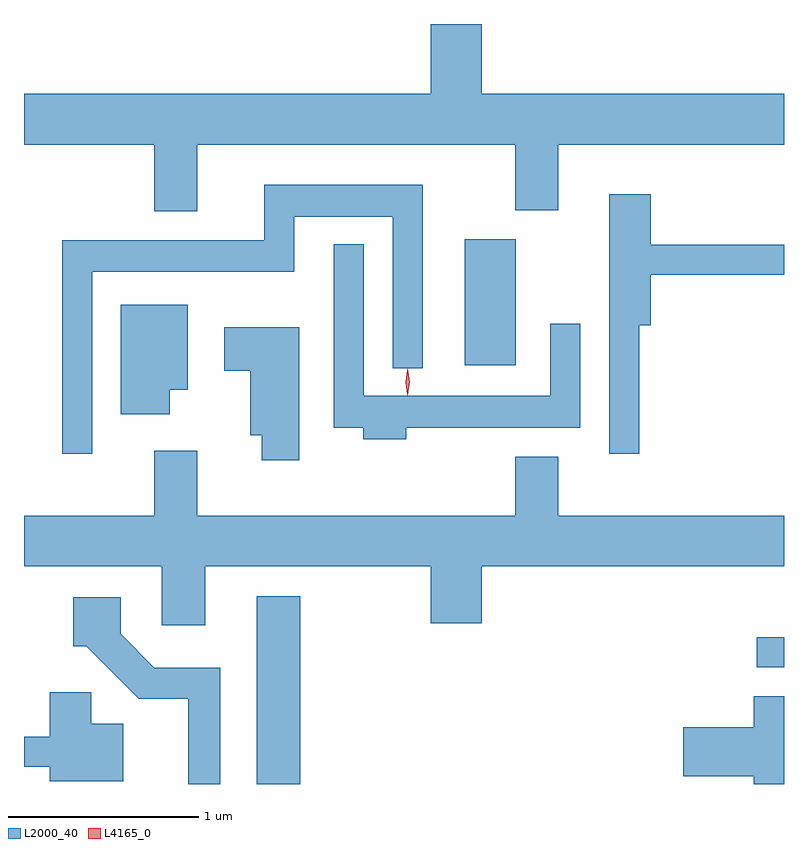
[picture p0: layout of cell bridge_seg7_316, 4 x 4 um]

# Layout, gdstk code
import gdstk
lib = gdstk.Library(unit=1e-6, precision=1e-09)
def R(c, l, rs):  # rectangles x0, y0, x1, y1
    for r in rs: c.add(gdstk.rectangle(r[:2], r[2:], *l))
def P(c, l, *ps):  # polygons
    for p in ps: c.add(gdstk.Polygon(p, *l))
L2000_40 = (2000, 40)
L4165_0 = (4165, 0)

bridge_seg7_316 = lib.new_cell('bridge_seg7_316')
R(bridge_seg7_316, L2000_40, [(1193.181,1764.231,1193.409,1765.219), (1195.813,1764.846,1195.956,1765.004), (1194.276,1766.436,1194.544,1767.099)])
P(bridge_seg7_316, L2000_40, [(1192.869,1767.596),(1194.541,1767.596),(1194.541,1767.251),(1194.769,1767.251),(1194.769,1767.596),(1195.956,1767.596),(1195.956,1767.864),(1194.364,1767.864),(1194.364,1768.231),(1194.096,1768.231),(1194.096,1767.864),(1191.956,1767.864),(1191.956,1767.596),(1192.641,1767.596),(1192.641,1767.246),(1192.869,1767.246)],
  [(1192.314,1766.926),(1193.379,1766.926),(1193.379,1767.216),(1193.896,1767.216),(1193.896,1766.418),(1194.054,1766.418),(1194.054,1767.384),(1193.221,1767.384),(1193.221,1767.094),(1192.156,1767.094),(1192.156,1765.968),(1192.314,1765.968)],
  [(1195.194,1766.646),(1195.254,1766.646),(1195.254,1766.911),(1195.956,1766.911),(1195.956,1767.069),(1195.254,1767.069),(1195.254,1767.334),(1195.036,1767.334),(1195.036,1765.968),(1195.194,1765.968)],
  [(1193.969,1766.106),(1194.884,1766.106),(1194.884,1766.653),(1194.726,1766.653),(1194.726,1766.274),(1193.744,1766.274),(1193.744,1767.073),(1193.586,1767.073),(1193.586,1766.106),(1193.741,1766.106),(1193.741,1766.046),(1193.969,1766.046)],
  [(1192.724,1766.306),(1192.819,1766.306),(1192.819,1766.754),(1192.466,1766.754),(1192.466,1766.176),(1192.724,1766.176)],
  [(1193.404,1766.634),(1193.011,1766.634),(1193.011,1766.406),(1193.146,1766.406),(1193.146,1766.066),(1193.206,1766.066),(1193.206,1765.936),(1193.404,1765.936)],
  [(1192.909,1765.376),(1194.096,1765.376),(1194.096,1765.076),(1194.364,1765.076),(1194.364,1765.376),(1195.956,1765.376),(1195.956,1765.644),(1194.769,1765.644),(1194.769,1765.954),(1194.541,1765.954),(1194.541,1765.644),(1192.869,1765.644),(1192.869,1765.984),(1192.641,1765.984),(1192.641,1765.644),(1191.956,1765.644),(1191.956,1765.376),(1192.681,1765.376),(1192.681,1765.066),(1192.909,1765.066)],
  [(1192.989,1764.844),(1192.642,1764.844),(1192.464,1765.022),(1192.464,1765.214),(1192.216,1765.214),(1192.216,1764.956),(1192.284,1764.956),(1192.559,1764.681),(1192.821,1764.681),(1192.821,1764.231),(1192.989,1764.231)],
  [(1192.479,1764.549),(1192.309,1764.549),(1192.309,1764.714),(1192.091,1764.714),(1192.091,1764.479),(1191.956,1764.479),(1191.956,1764.321),(1192.091,1764.321),(1192.091,1764.246),(1192.479,1764.246)],
  [(1195.956,1764.694),(1195.796,1764.694),(1195.796,1764.529),(1195.426,1764.529),(1195.426,1764.271),(1195.796,1764.271),(1195.796,1764.231),(1195.956,1764.231)])
P(bridge_seg7_316, L4165_0, [(1193.977,1766.277),(1193.976,1766.278),(1193.967,1766.347),(1193.976,1766.416),(1193.977,1766.416),(1193.977,1766.416),(1193.987,1766.347),(1193.977,1766.278)],
  [(1193.974,1766.28),(1193.974,1766.28),(1193.965,1766.346),(1193.974,1766.412),(1193.975,1766.413),(1193.975,1766.412),(1193.984,1766.346),(1193.975,1766.28)])

lib.write_gds('bridge_seg7_316.gds')
